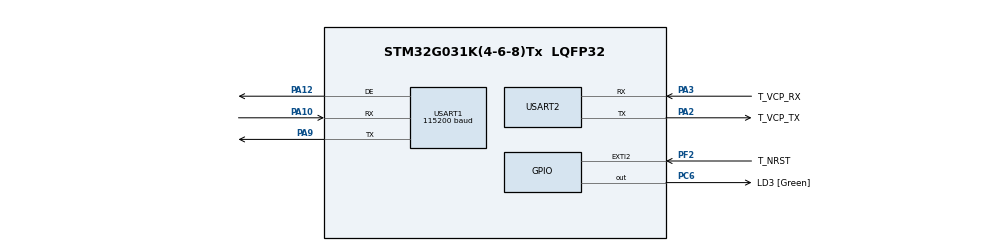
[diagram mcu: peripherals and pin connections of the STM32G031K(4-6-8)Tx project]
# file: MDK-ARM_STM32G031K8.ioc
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Mcu.Family=STM32G0
Mcu.Name=STM32G031K(4-6-8)Tx
Mcu.Package=LQFP32
NVIC.USART1_IRQn=true\:0\:0\:false\:false\:true\:true\:true\:true
NVIC.USART2_IRQn=true\:0\:0\:false\:false\:true\:true\:true\:true
PA10.Mode=Asynchronous
PA10.Signal=USART1_RX
PA12\ [PA10].Mode=Hardware Flow Control (RS485)
PA12\ [PA10].Signal=USART1_DE
PA13.GPIO_Label=T_JTMS
PA13.Mode=Serial_Wire
PA13.Signal=SYS_SWDIO
PA14-BOOT0.GPIO_Label=T_JTCK
PA14-BOOT0.Mode=Serial_Wire
PA14-BOOT0.Signal=SYS_SWCLK
PA2.GPIO_Label=T_VCP_TX
PA2.GPIO_PuPd=GPIO_PULLUP
PA2.Mode=Asynchronous
PA2.Signal=USART2_TX
PA3.GPIO_Label=T_VCP_RX
PA3.GPIO_PuPd=GPIO_PULLUP
PA3.Mode=Asynchronous
PA3.Signal=USART2_RX
PA9.Mode=Asynchronous
PA9.Signal=USART1_TX
PC14-OSC32_IN\ (PC14).Mode=LSE-External-Oscillator
PC14-OSC32_IN\ (PC14).Signal=RCC_OSC32_IN
PC15-OSC32_OUT\ (PC15).Mode=LSE-External-Oscillator
PC15-OSC32_OUT\ (PC15).Signal=RCC_OSC32_OUT
PC6.GPIO_Label=LD3 [Green]
PC6.Signal=GPIO_Output
PF2\ -\ NRST.GPIO_Label=T_NRST
PF2\ -\ NRST.Signal=GPXTI2
ProjectManager.HeapSize=0x200
ProjectManager.StackSize=0x400
ProjectManager.TargetToolchain=MDK-ARM V5.32
RCC.ADCFreq_Value=64000000
RCC.AHBFreq_Value=64000000
RCC.CortexFreq_Value=64000000
RCC.EXTERNAL_CLOCK_VALUE=12288000
RCC.HCLKFreq_Value=64000000
RCC.HSE_VALUE=8000000
RCC.HSI_VALUE=16000000
RCC.SYSCLKFreq_VALUE=64000000
RCC.SYSCLKSource=RCC_SYSCLKSOURCE_PLLCLK
RCC.VCOOutputFreq_Value=128000000
USART1.BaudRate=115200
USART1.VirtualMode-Asynchronous=VM_ASYNC
USART1.VirtualMode-Hardware\ Flow\ Control\ (RS485)=VM_ASYNC
USART2.VirtualMode-Asynchronous=VM_ASYNC
USART2.WordLength=WORDLENGTH_8B
board=NUCLEO-G031K8

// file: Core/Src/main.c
/* USER CODE BEGIN Header */
/**
  ******************************************************************************
  * @file           : main.c
  * @brief          : Main program body
  ******************************************************************************
  * @attention
  *
  * <h2><center>&copy; Copyright (c) 2021 STMicroelectronics.
  * All rights reserved.</center></h2>
  *
  * This software component is licensed by ST under BSD 3-Clause license,
  * the "License"; You may not use this file except in compliance with the
  * License. You may obtain a copy of the License at:
  *                        opensource.org/licenses/BSD-3-Clause
  *
  ******************************************************************************
  */
/* USER CODE END Header */
#include "main.h"

/* USER CODE BEGIN Includes */
#include "trice.h"
/* USER CODE END Includes */

/* USER CODE BEGIN PV */
uint32_t milliSecond = 0;
uint64_t microSecond = 0;
/* USER CODE END PV */

void SystemClock_Config(void);
static void MX_GPIO_Init(void);
static void MX_USART2_UART_Init(void);
static void MX_USART1_UART_Init(void);

/* USER CODE BEGIN 0 */

//! ReadUs64 reads the 1us tick in the assumption of an 64MHz systick clock using the microSecond variable and current systick value.
//! ATTENTION: This is a quick and dirty implementation working well only if this function is called in intervals smaller than 1 ms.
//! :-( Because the STM32G031 has no 32-bit sysclock counter we need to compute this value or concatenate two 16-bit timers. )
//! I see no way to find out if the systick ISR was already active shortly after a systick counter wrap, despite calling this
//! function in intervals smaller than 1 ms if not using hardware timers. To make it clear: You can use ReadUs64 to measure long
//! intervals up to 584542 years, but the "OS" needs to call ReadUs64 internally regularely in <1ms intervals.
//! \retval us count since last reset
uint64_t ReadUs64( void ){
    static uint64_t us_1 = 0; // result of last call
    uint64_t us = microSecond + ((SysTick->LOAD - SysTick->VAL) >> 6); // Divide 64MHz clock by 64 to get us part.
    if( us < us_1){ // Possible very close to systick ISR, when milliSecond was not incremented yet, but the systic wrapped already.
        us += 1000; // Time cannot go backwards, so correct the 1ms error in the assumption last call is not longer than 1ms back.
    }
    us_1 = us; // keep result for next call
    return us;
}

static unsigned timingError64Count = 0;

//! serveUs should be called in intervals secure smaller than 1ms.
void serveUs( void ){
    static uint64_t st64_1 = 0;
    uint64_t st64 = ReadUs64();
    static int virgin64 = 1;
    if( st64 < st64_1 ){
        timingError64Count++;
        if( virgin64 ){
            virgin64 = 0;
            TRICE64( Id( 3183), "err:st64=%d < st64_1=%d\n", st64, st64_1 );

        }
    }
    st64_1 = st64;
}

uint16_t TriceStamp16( void ){
    return (uint16_t)(ReadUs64()%10000); // This implies division and is therefore slow!
}

uint32_t TriceStamp32( void ){
    return (uint32_t)ReadUs64();
}

/* USER CODE END 0 */

int main(void)
{
  /* USER CODE BEGIN 1 */
//lint -e835
  /* USER CODE END 1 */

  /* MCU Configuration--------------------------------------------------------*/

  /* Reset of all peripherals, Initializes the Flash interface and the Systick. */
  LL_APB2_GRP1_EnableClock(LL_APB2_GRP1_PERIPH_SYSCFG);
  LL_APB1_GRP1_EnableClock(LL_APB1_GRP1_PERIPH_PWR);

  /* USER CODE BEGIN Init */
//lint +e835
  /* USER CODE END Init */

  /* Configure the system clock */
  SystemClock_Config();

  /* USER CODE BEGIN SysInit */
    SysTick->CTRL |= SysTick_CTRL_TICKINT_Msk; // enable SysTick interrupt
  /* USER CODE END SysInit */

  /* Initialize all configured peripherals */
  MX_GPIO_Init();
  MX_USART2_UART_Init();
  MX_USART1_UART_Init();
  /* USER CODE BEGIN 2 */
    #ifdef TRICE_ENCRYPT
        XTEAInitTable();
    #endif
    #ifdef TRICE_UARTA
    LL_USART_EnableIT_RXNE(TRICE_UARTA);
    #endif
    #ifdef TRICE_UARTB
    LL_USART_EnableIT_RXNE(TRICE_UARTB);
    #endif
    TRICE_HEADLINE;
    {
        float a = (float)5.934;
        float b = a + ((a > 0) ? 0.0005f : -0.0005f);
        int c = (int)b;
        int d = (int)(b * 1000) % 1000;
        int e = (int)(1000 * (float)(a - c));
        TRICE( Id( 2392), "msg:x = %g = %d.%03d, %d.%03d\n", aFloat(a), c, d, c, e ); //lint !e666
        TRICE( Id( 2623), "1/11 = %g\n", aFloat( 1.0/11 ) ); //lint !e666
    }
  /* USER CODE END 2 */

  /* Infinite loop */
  /* USER CODE BEGIN WHILE */
    for(;;){
        if( triceCommandFlag ){
            triceCommandFlag = 0;
            TRICE( Id( 4202), "att:Executing reveived command ...\n" );
            // do
            TRICE( Id( 7778), "att:...done\n" );
        }

        // serve every few ms
        #if TRICE_DEFERRED_OUT
        static unsigned lastMs = 0;
        if( milliSecond >= lastMs + TRICE_TRANSFER_INTERVAL_MS ){
            lastMs = milliSecond;
            TriceTransfer();
        }
        #endif
    /* USER CODE END WHILE */

    /* USER CODE BEGIN 3 */
        {
            static unsigned lastTricesTime = 0;
            // send some trices every few ms
            if( milliSecond >= lastTricesTime + 2000 ){
                static int index = 0;
                int select = index;
                TRICE16( Id( 7809),"MSG: 💚 START select = %d\n", select );
                TriceCheckSet(select);
                #if TRICE_MODE == TRICE_DOUBLE_BUFFER
                TRICE16( Id( 3260),"MSG: ✅ STOP  select = %d, TriceDepthMax =%4u of %d\n", select, TriceDepthMax(), TRICE_HALF_BUFFER_SIZE );
                #endif
                #if TRICE_MODE == TRICE_STREAM_BUFFER
                TRICE( Id( 5031), "MSG:triceFifoDepthMax = %d of max %d, triceStreamBufferDepthMax = %d of max %d\n", triceFifoDepthMax, TRICE_FIFO_ELEMENTS, triceStreamBufferDepthMax, TRICE_BUFFER_SIZE );
                #endif

                if( timingError64Count ){
                    TRICE( Id( 4065), "err:%d timing errors 64-bit\n", timingError64Count );
                }
                index += 10;
                index = index > 1000 ? 0 : index;
                lastTricesTime = milliSecond;
            }
        }
        // The execution time could be longer than 1 ms, so the interrupts should do serveUs() too.
        //serveUs();
        __WFI(); //lint !e718 !e746 wait for interrupt (sleep)
        //serveUs(); // probably not needed
    }
//lint -e835 -e534
  /* USER CODE END 3 */
}

void SystemClock_Config(void)
{
  LL_FLASH_SetLatency(LL_FLASH_LATENCY_2);
  while(LL_FLASH_GetLatency() != LL_FLASH_LATENCY_2)
  {
  }

  /* HSI configuration and activation */
  LL_RCC_HSI_Enable();
  while(LL_RCC_HSI_IsReady() != 1)
  {
  }

  /* Main PLL configuration and activation */
  LL_RCC_PLL_ConfigDomain_SYS(LL_RCC_PLLSOURCE_HSI, LL_RCC_PLLM_DIV_1, 8, LL_RCC_PLLR_DIV_2);
  LL_RCC_PLL_Enable();
  LL_RCC_PLL_EnableDomain_SYS();
  while(LL_RCC_PLL_IsReady() != 1)
  {
  }

  /* Set AHB prescaler*/
  LL_RCC_SetAHBPrescaler(LL_RCC_SYSCLK_DIV_1);

  /* Sysclk activation on the main PLL */
  LL_RCC_SetSysClkSource(LL_RCC_SYS_CLKSOURCE_PLL);
  while(LL_RCC_GetSysClkSource() != LL_RCC_SYS_CLKSOURCE_STATUS_PLL)
  {
  }

  /* Set APB1 prescaler*/
  LL_RCC_SetAPB1Prescaler(LL_RCC_APB1_DIV_1);

  LL_Init1msTick(64000000);

  /* Update CMSIS variable (which can be updated also through SystemCoreClockUpdate function) */
  LL_SetSystemCoreClock(64000000);
}

static void MX_USART1_UART_Init(void)
{

  LL_USART_InitTypeDef USART_InitStruct = {0};

  LL_GPIO_InitTypeDef GPIO_InitStruct = {0};

  LL_RCC_SetUSARTClockSource(LL_RCC_USART1_CLKSOURCE_PCLK1);

  /* Peripheral clock enable */
  LL_APB2_GRP1_EnableClock(LL_APB2_GRP1_PERIPH_USART1);

  LL_IOP_GRP1_EnableClock(LL_IOP_GRP1_PERIPH_GPIOA);
  /**USART1 GPIO Configuration
  PA9   ------> USART1_TX
  PA10   ------> USART1_RX
  PA12 [PA10]   ------> USART1_DE
  */
  GPIO_InitStruct.Pin = LL_GPIO_PIN_9;
  GPIO_InitStruct.Mode = LL_GPIO_MODE_ALTERNATE;
  GPIO_InitStruct.Speed = LL_GPIO_SPEED_FREQ_LOW;
  GPIO_InitStruct.OutputType = LL_GPIO_OUTPUT_PUSHPULL;
  GPIO_InitStruct.Pull = LL_GPIO_PULL_NO;
  GPIO_InitStruct.Alternate = LL_GPIO_AF_1;
  LL_GPIO_Init(GPIOA, &GPIO_InitStruct);

  GPIO_InitStruct.Pin = LL_GPIO_PIN_10;
  GPIO_InitStruct.Mode = LL_GPIO_MODE_ALTERNATE;
  GPIO_InitStruct.Speed = LL_GPIO_SPEED_FREQ_LOW;
  GPIO_InitStruct.OutputType = LL_GPIO_OUTPUT_PUSHPULL;
  GPIO_InitStruct.Pull = LL_GPIO_PULL_NO;
  GPIO_InitStruct.Alternate = LL_GPIO_AF_1;
  LL_GPIO_Init(GPIOA, &GPIO_InitStruct);

  GPIO_InitStruct.Pin = LL_GPIO_PIN_12;
  GPIO_InitStruct.Mode = LL_GPIO_MODE_ALTERNATE;
  GPIO_InitStruct.Speed = LL_GPIO_SPEED_FREQ_LOW;
  GPIO_InitStruct.OutputType = LL_GPIO_OUTPUT_PUSHPULL;
  GPIO_InitStruct.Pull = LL_GPIO_PULL_NO;
  GPIO_InitStruct.Alternate = LL_GPIO_AF_1;
  LL_GPIO_Init(GPIOA, &GPIO_InitStruct);

  /* USART1 interrupt Init */
  NVIC_SetPriority(USART1_IRQn, 0);
  NVIC_EnableIRQ(USART1_IRQn);

  USART_InitStruct.PrescalerValue = LL_USART_PRESCALER_DIV1;
  USART_InitStruct.BaudRate = 115200;
  USART_InitStruct.DataWidth = LL_USART_DATAWIDTH_8B;
  USART_InitStruct.StopBits = LL_USART_STOPBITS_1;
  USART_InitStruct.Parity = LL_USART_PARITY_NONE;
  USART_InitStruct.TransferDirection = LL_USART_DIRECTION_TX_RX;
  USART_InitStruct.HardwareFlowControl = LL_USART_HWCONTROL_NONE;
  USART_InitStruct.OverSampling = LL_USART_OVERSAMPLING_16;
  LL_USART_Init(USART1, &USART_InitStruct);
  LL_USART_SetTXFIFOThreshold(USART1, LL_USART_FIFOTHRESHOLD_1_8);
  LL_USART_SetRXFIFOThreshold(USART1, LL_USART_FIFOTHRESHOLD_1_8);
  LL_USART_EnableDEMode(USART1);
  LL_USART_SetDESignalPolarity(USART1, LL_USART_DE_POLARITY_HIGH);
  LL_USART_SetDEAssertionTime(USART1, 0);
  LL_USART_SetDEDeassertionTime(USART1, 0);
  LL_USART_DisableFIFO(USART1);
  LL_USART_ConfigAsyncMode(USART1);

  LL_USART_Enable(USART1);

  /* Polling USART1 initialisation */
  while((!(LL_USART_IsActiveFlag_TEACK(USART1))) || (!(LL_USART_IsActiveFlag_REACK(USART1))))
  {
  }

}

static void MX_USART2_UART_Init(void)
{

  LL_USART_InitTypeDef USART_InitStruct = {0};

  LL_GPIO_InitTypeDef GPIO_InitStruct = {0};

  /* Peripheral clock enable */
  LL_APB1_GRP1_EnableClock(LL_APB1_GRP1_PERIPH_USART2);

  LL_IOP_GRP1_EnableClock(LL_IOP_GRP1_PERIPH_GPIOA);
  /**USART2 GPIO Configuration
  PA2   ------> USART2_TX
  PA3   ------> USART2_RX
  */
  GPIO_InitStruct.Pin = T_VCP_TX_Pin;
  GPIO_InitStruct.Mode = LL_GPIO_MODE_ALTERNATE;
  GPIO_InitStruct.Speed = LL_GPIO_SPEED_FREQ_LOW;
  GPIO_InitStruct.OutputType = LL_GPIO_OUTPUT_PUSHPULL;
  GPIO_InitStruct.Pull = LL_GPIO_PULL_UP;
  GPIO_InitStruct.Alternate = LL_GPIO_AF_1;
  LL_GPIO_Init(T_VCP_TX_GPIO_Port, &GPIO_InitStruct);

  GPIO_InitStruct.Pin = T_VCP_RX_Pin;
  GPIO_InitStruct.Mode = LL_GPIO_MODE_ALTERNATE;
  GPIO_InitStruct.Speed = LL_GPIO_SPEED_FREQ_LOW;
  GPIO_InitStruct.OutputType = LL_GPIO_OUTPUT_PUSHPULL;
  GPIO_InitStruct.Pull = LL_GPIO_PULL_UP;
  GPIO_InitStruct.Alternate = LL_GPIO_AF_1;
  LL_GPIO_Init(T_VCP_RX_GPIO_Port, &GPIO_InitStruct);

  /* USART2 interrupt Init */
  NVIC_SetPriority(USART2_IRQn, 0);
  NVIC_EnableIRQ(USART2_IRQn);

  USART_InitStruct.PrescalerValue = LL_USART_PRESCALER_DIV1;
  USART_InitStruct.BaudRate = 115200;
  USART_InitStruct.DataWidth = LL_USART_DATAWIDTH_8B;
  USART_InitStruct.StopBits = LL_USART_STOPBITS_1;
  USART_InitStruct.Parity = LL_USART_PARITY_NONE;
  USART_InitStruct.TransferDirection = LL_USART_DIRECTION_TX_RX;
  USART_InitStruct.HardwareFlowControl = LL_USART_HWCONTROL_NONE;
  USART_InitStruct.OverSampling = LL_USART_OVERSAMPLING_16;
  LL_USART_Init(USART2, &USART_InitStruct);
  LL_USART_ConfigAsyncMode(USART2);

  LL_USART_Enable(USART2);

  /* Polling USART2 initialisation */
  while((!(LL_USART_IsActiveFlag_TEACK(USART2))) || (!(LL_USART_IsActiveFlag_REACK(USART2))))
  {
  }

}

static void MX_GPIO_Init(void)
{
  LL_EXTI_InitTypeDef EXTI_InitStruct = {0};
  LL_GPIO_InitTypeDef GPIO_InitStruct = {0};

  /* GPIO Ports Clock Enable */
  LL_IOP_GRP1_EnableClock(LL_IOP_GRP1_PERIPH_GPIOC);
  LL_IOP_GRP1_EnableClock(LL_IOP_GRP1_PERIPH_GPIOF);
  LL_IOP_GRP1_EnableClock(LL_IOP_GRP1_PERIPH_GPIOA);

  /**/
  LL_GPIO_ResetOutputPin(LD3_GPIO_Port, LD3_Pin);

  /**/
  LL_EXTI_SetEXTISource(LL_EXTI_CONFIG_PORTF, LL_EXTI_CONFIG_LINE2);

  /**/
  EXTI_InitStruct.Line_0_31 = LL_EXTI_LINE_2;
  EXTI_InitStruct.LineCommand = ENABLE;
  EXTI_InitStruct.Mode = LL_EXTI_MODE_IT;
  EXTI_InitStruct.Trigger = LL_EXTI_TRIGGER_RISING;
  LL_EXTI_Init(&EXTI_InitStruct);

  /**/
  LL_GPIO_SetPinPull(T_NRST_GPIO_Port, T_NRST_Pin, LL_GPIO_PULL_NO);

  /**/
  LL_GPIO_SetPinMode(T_NRST_GPIO_Port, T_NRST_Pin, LL_GPIO_MODE_INPUT);

  /**/
  GPIO_InitStruct.Pin = LD3_Pin;
  GPIO_InitStruct.Mode = LL_GPIO_MODE_OUTPUT;
  GPIO_InitStruct.Speed = LL_GPIO_SPEED_FREQ_LOW;
  GPIO_InitStruct.OutputType = LL_GPIO_OUTPUT_PUSHPULL;
  GPIO_InitStruct.Pull = LL_GPIO_PULL_NO;
  LL_GPIO_Init(LD3_GPIO_Port, &GPIO_InitStruct);

}

/* USER CODE BEGIN 4 */
//lint +e835 +e534
/* USER CODE END 4 */

void Error_Handler(void)
{
  __disable_irq();
  for(;;)
  {
  }
}
